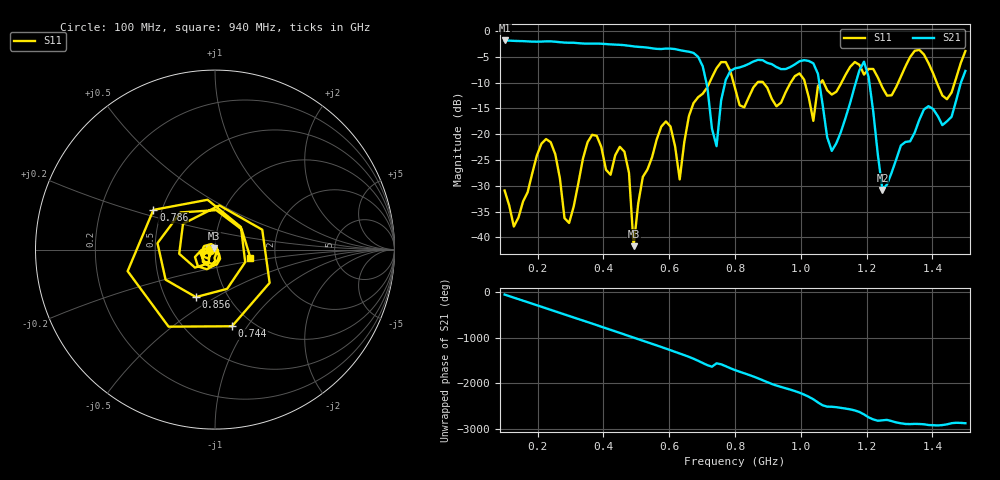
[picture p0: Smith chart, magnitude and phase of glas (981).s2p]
! NanoVNA-App
! Date: 2025-09-25 16:03:06
! Start: 100MHz Stop: 1,5GHz Points: 101
! S-Parameter data: F S11 S21 S12 S22
# Hz S RI R 50
!  Frequency  S11_Real  S11_Imag  S21_Real  S21_Imag  S12_Real  S12_Imag  S22_Real  S22_Imag
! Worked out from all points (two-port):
!   101 points, 100 MHz to 1.5 GHz, reference 50 ohm
!   highest |S21| = -1.80 dB at 100 MHz (marker M1); lowest = -30.8 dB at 1.248 GHz (marker M2)
!   |S21| within 3 dB of the highest: start of sweep to 684.8 MHz
!   lowest |S11| = -41.7 dB at 492 MHz (marker M3), VSWR 1.02, Z = 49.5 + j0.635 ohm
!   |S11| at or under -10 dB: start of sweep to 722.4 MHz; 795.5 MHz to 867.8 MHz (72.28 MHz wide, 8.69 % of centre); 886.1 MHz to 968.9 MHz (82.86 MHz wide, 8.93 % of centre) (the widest 3 of 7)
!   S12 and S22 are empty: the file has one direction only
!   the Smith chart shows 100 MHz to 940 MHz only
!   S11 on the Smith chart (normalised r, x): 100 MHz: 0.94, -0.01; 744 MHz: 0.81, -0.85; 786 MHz: 0.45, +0.24; 856 MHz: 0.71, -0.41; 940 MHz: 1.48, -0.14
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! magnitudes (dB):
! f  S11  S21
! 100 MHz  -30.9  -1.8
! 128 MHz  -37.9  -1.9
! 226 MHz  -20.9  -2.0
! 296 MHz  -37.2  -2.2
! 338 MHz  -24.7  -2.4
! 464 MHz  -23.4  -2.7
! 492 MHz  -41.7  -2.9
! 576 MHz  -18.5  -3.5
! 632 MHz  -28.8  -3.7
! 702 MHz  -12.1  -6.8
! 744 MHz  -7.2  -22.3
! 786 MHz  -7.8  -7.7
! 800 MHz  -11.0  -7.2
! 856 MHz  -10.9  -5.9
! 940 MHz  -13.9  -7.4
! 996 MHz  -8.2  -5.8
! 1.038 GHz  -17.4  -6.2
! 1.094 GHz  -12.3  -23.2
! 1.192 GHz  -8.4  -5.9
! 1.248 GHz  -11.0  -30.8
! 1.276 GHz  -12.4  -27.4
! 1.5 GHz  -3.9  -7.7
